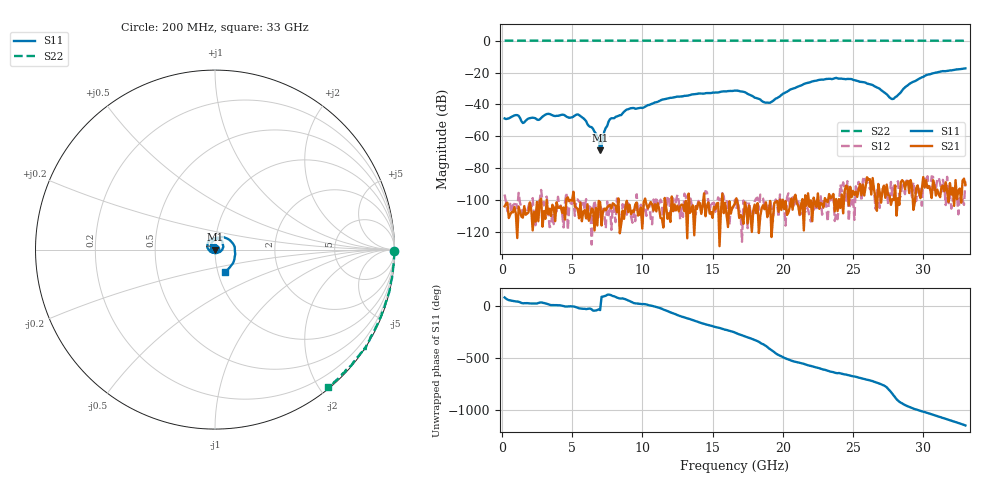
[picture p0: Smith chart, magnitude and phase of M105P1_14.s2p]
# GHZ S RI R 50
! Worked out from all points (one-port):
!   329 points, 200 MHz to 33 GHz, reference 50 ohm
!   lowest |S11| = -68.9 dB at 7 GHz (marker M1), VSWR 1.00, Z = 50 - j0.0227 ohm
!   |S11| at or under -10 dB: start of sweep to end of sweep
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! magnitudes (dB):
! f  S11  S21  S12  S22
! 200 MHz  -48.8  -103.9  -96.5  0.0
! 1.1 GHz  -46.7  -123.8  -105.2  0.0
! 1.5 GHz  -51.7  -111.0  -111.6  0.0
! 3.3 GHz  -45.9  -108.9  -106.0  0.0
! 5.7 GHz  -47.9  -113.2  -104.4  0.0
! 6.7 GHz  -58.3  -105.0  -105.5  0.0
! 6.9 GHz  -62.2  -100.5  -111.5  0.0
! 7 GHz  -68.9  -101.2  -102.6  0.0
! 7.3 GHz  -57.0  -105.3  -108.8  0.0
! 7.7 GHz  -49.3  -103.0  -102.9  0.0
! 8.9 GHz  -43.2  -100.5  -109.1  0.0
! 11.2 GHz  -37.9  -105.3  -102.0  0.0
! 16.6 GHz  -31.3  -101.9  -99.7  0.0
! 19.1 GHz  -38.9  -100.5  -100.7  0.0
! 22.1 GHz  -25.6  -113.2  -106.2  0.0
! 24.9 GHz  -24.1  -98.1  -102.7  0.0
! 26.4 GHz  -27.9  -86.2  -92.3  0.0
! 27.6 GHz  -35.6  -97.1  -100.6  0.0
! 27.9 GHz  -36.4  -100.0  -90.9  0.0
! 29 GHz  -27.3  -95.6  -88.3  -0.1
! 30.2 GHz  -21.7  -87.5  -88.0  -0.1
! 33 GHz  -17.4  -90.3  -88.3  -0.1
